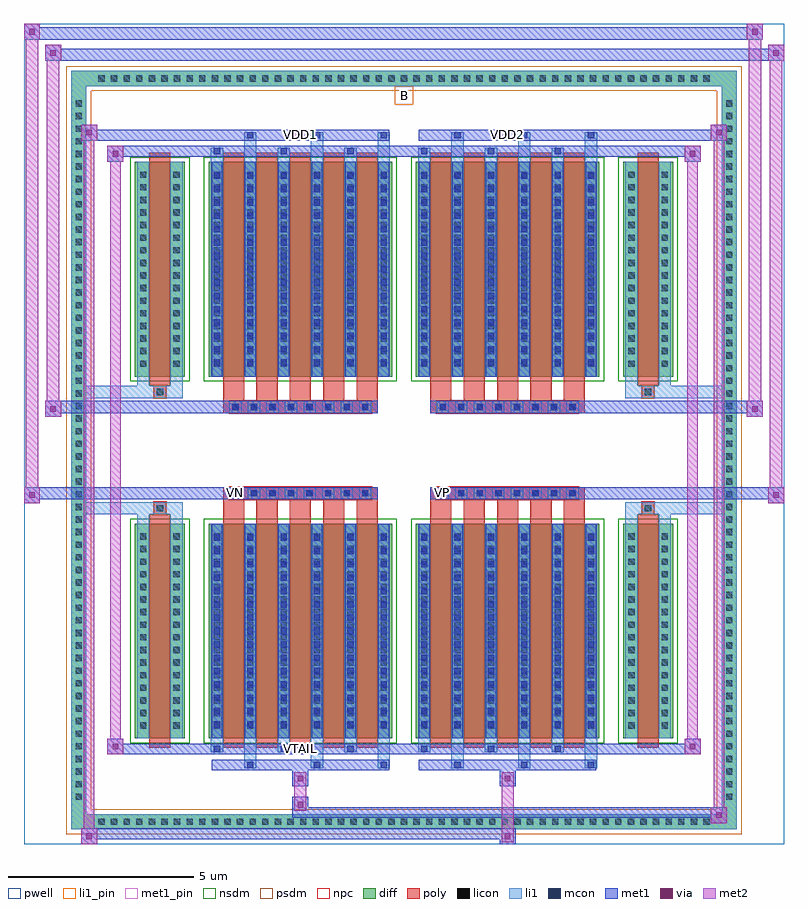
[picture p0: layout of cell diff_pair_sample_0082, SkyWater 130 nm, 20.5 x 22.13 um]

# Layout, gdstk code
import gdstk
lib = gdstk.Library(unit=1e-6, precision=5e-09)
def R(c, l, rs):  # rectangles x0, y0, x1, y1
    for r in rs: c.add(gdstk.rectangle(r[:2], r[2:], *l))
def A(c, l, x, y, w, h, nx, ny, dx, dy):  # array of equal rectangles
    R(c, l, [(x+i*dx, y+j*dy, x+i*dx+w, y+j*dy+h) for i in range(nx) for j in range(ny)])
def P(c, l, *ps):  # polygons
    for p in ps: c.add(gdstk.Polygon(p, *l))
pwell = (64, 44)
diff = (65, 20)
poly = (66, 20)
licon = (66, 44)
li1_pin = (67, 16)
li1 = (67, 20)
mcon = (67, 44)
met1_pin = (68, 16)
met1 = (68, 20)
via = (68, 44)
met2 = (69, 20)
nsdm = (93, 44)
psdm = (94, 20)
npc = (95, 20)

diff_pair_sample_0082 = lib.new_cell('diff_pair_sample_0082')
R(diff_pair_sample_0082, pwell, [(-10.25,-10.63,10.25,11.5), (-7.57,-8.82,-0.01,-0.8), (0.01,-8.82,7.57,-0.8), (-7.57,0.8,-0.01,8.82), (0.01,0.8,7.57,8.82)])
A(diff_pair_sample_0082, diff, -8.365, -10.23, 0.41, 0.41, 49, 2, 0.34, 20.05)
A(diff_pair_sample_0082, diff, -8.98, -9.555, 0.41, 0.41, 1, 56, 0, 0.34)
A(diff_pair_sample_0082, diff, 8.57, -9.555, 0.41, 0.41, 1, 56, 0, 0.34)
R(diff_pair_sample_0082, diff, [(-8.365,-10.23,8.365,-9.82), (-8.98,-9.555,-8.57,9.555), (8.57,-9.555,8.98,9.555), (-7.26,-7.775,-5.91,-1.985), (-5.27,-7.775,-0.32,-1.985), (0.32,-7.775,5.27,-1.985), (5.91,-7.775,7.26,-1.985), (-7.26,1.985,-5.91,7.775), (-5.27,1.985,-0.32,7.775), (0.32,1.985,5.27,7.775), (5.91,1.985,7.26,7.775), (-8.365,9.82,8.365,10.23)])
P(diff_pair_sample_0082, diff, [(8.98,10.23),(-8.98,10.23),(-8.98,-9.82),(-8.57,-9.82),(-8.57,9.82),(8.57,9.82),(8.57,-9.82),(-8.57,-9.82),(-8.98,-9.82),(-8.98,-10.23),(8.98,-10.23)])
A(diff_pair_sample_0082, poly, -4.88, -8.025, 0.57, 6.29, 5, 2, 0.9, 9.76)
A(diff_pair_sample_0082, poly, 0.71, -8.025, 0.57, 6.29, 5, 2, 0.9, 9.76)
A(diff_pair_sample_0082, poly, -4.88, -1.735, 0.57, 0.405, 5, 2, 0.9, 3.065)
A(diff_pair_sample_0082, poly, 0.71, -1.735, 0.57, 0.405, 5, 2, 0.9, 3.065)
A(diff_pair_sample_0082, poly, -4.71, -1.33, 0.33, 0.33, 8, 2, 0.5, 2.33)
A(diff_pair_sample_0082, poly, 0.88, -1.33, 0.33, 0.33, 8, 2, 0.5, 2.33)
R(diff_pair_sample_0082, poly, [(-6.87,-8.025,-6.3,-1.735), (6.3,-8.025,6.87,-1.735), (-6.75,-1.735,-6.42,-1.405), (-6.75,-1.735,-6.42,-1.405), (6.42,-1.735,6.75,-1.405), (6.42,-1.735,6.75,-1.405), (-4.88,-1.33,-0.71,-1), (0.71,-1.33,4.88,-1), (-4.88,1,-0.71,1.33), (0.71,1,4.88,1.33), (-6.75,1.405,-6.42,1.735), (-6.75,1.405,-6.42,1.735), (6.42,1.405,6.75,1.735), (6.42,1.405,6.75,1.735), (-6.87,1.735,-6.3,8.025), (6.3,1.735,6.87,8.025)])
A(diff_pair_sample_0082, licon, -8.245, -10.11, 0.17, 0.17, 49, 2, 0.34, 20.05)
A(diff_pair_sample_0082, licon, -8.86, -9.435, 0.17, 0.17, 1, 56, 0, 0.34)
A(diff_pair_sample_0082, licon, 8.69, -9.435, 0.17, 0.17, 1, 56, 0, 0.34)
A(diff_pair_sample_0082, licon, -7.12, -7.515, 0.17, 0.17, 1, 16, 0, 0.34)
A(diff_pair_sample_0082, licon, -6.22, -7.515, 0.17, 0.17, 1, 16, 0, 0.34)
A(diff_pair_sample_0082, licon, -5.13, -7.515, 0.17, 0.17, 6, 16, 0.9, 0.34)
A(diff_pair_sample_0082, licon, 0.46, -7.515, 0.17, 0.17, 6, 16, 0.9, 0.34)
A(diff_pair_sample_0082, licon, 6.05, -7.515, 0.17, 0.17, 1, 16, 0, 0.34)
A(diff_pair_sample_0082, licon, 6.95, -7.515, 0.17, 0.17, 1, 16, 0, 0.34)
A(diff_pair_sample_0082, licon, -4.63, -1.25, 0.17, 0.17, 8, 2, 0.5, 2.33)
A(diff_pair_sample_0082, licon, 0.96, -1.25, 0.17, 0.17, 8, 2, 0.5, 2.33)
A(diff_pair_sample_0082, licon, -7.12, 2.245, 0.17, 0.17, 1, 16, 0, 0.34)
A(diff_pair_sample_0082, licon, -6.22, 2.245, 0.17, 0.17, 1, 16, 0, 0.34)
A(diff_pair_sample_0082, licon, -5.13, 2.245, 0.17, 0.17, 6, 16, 0.9, 0.34)
A(diff_pair_sample_0082, licon, 0.46, 2.245, 0.17, 0.17, 6, 16, 0.9, 0.34)
A(diff_pair_sample_0082, licon, 6.05, 2.245, 0.17, 0.17, 1, 16, 0, 0.34)
A(diff_pair_sample_0082, licon, 6.95, 2.245, 0.17, 0.17, 1, 16, 0, 0.34)
R(diff_pair_sample_0082, licon, [(-6.67,-1.655,-6.5,-1.485), (6.5,-1.655,6.67,-1.485), (-6.67,1.485,-6.5,1.655), (6.5,1.485,6.67,1.655)])
R(diff_pair_sample_0082, li1_pin, [(-0.25,9.32,0.25,9.82)])
A(diff_pair_sample_0082, li1, -8.325, -10.19, 0.33, 0.33, 49, 2, 0.34, 20.05)
A(diff_pair_sample_0082, li1, -8.94, -9.515, 0.33, 0.33, 1, 56, 0, 0.34)
A(diff_pair_sample_0082, li1, 8.61, -9.515, 0.33, 0.33, 1, 56, 0, 0.34)
A(diff_pair_sample_0082, li1, -4.31, -8.58, 0.33, 0.805, 3, 2, 1.8, 16.355)
A(diff_pair_sample_0082, li1, -4.23, -8.58, 0.17, 0.17, 3, 2, 1.8, 16.99)
A(diff_pair_sample_0082, li1, 1.28, -8.58, 0.33, 0.805, 3, 2, 1.8, 16.355)
A(diff_pair_sample_0082, li1, 1.36, -8.58, 0.17, 0.17, 3, 2, 1.8, 16.99)
A(diff_pair_sample_0082, li1, -5.21, -8.15, 0.33, 0.375, 3, 2, 1.8, 15.925)
A(diff_pair_sample_0082, li1, -5.13, -8.15, 0.17, 0.17, 3, 2, 1.8, 16.13)
A(diff_pair_sample_0082, li1, 0.38, -8.15, 0.33, 0.375, 3, 2, 1.8, 15.925)
A(diff_pair_sample_0082, li1, 0.46, -8.15, 0.17, 0.17, 3, 2, 1.8, 16.13)
A(diff_pair_sample_0082, li1, -5.21, -7.775, 0.33, 5.79, 6, 2, 0.9, 9.76)
A(diff_pair_sample_0082, li1, 0.38, -7.775, 0.33, 5.79, 6, 2, 0.9, 9.76)
A(diff_pair_sample_0082, li1, -7.2, -7.595, 0.33, 0.33, 1, 16, 0, 0.34)
A(diff_pair_sample_0082, li1, -6.3, -7.595, 0.33, 0.33, 1, 16, 0, 0.34)
A(diff_pair_sample_0082, li1, -5.21, -7.595, 0.33, 0.33, 6, 16, 0.9, 0.34)
A(diff_pair_sample_0082, li1, 0.38, -7.595, 0.33, 0.33, 6, 16, 0.9, 0.34)
A(diff_pair_sample_0082, li1, 5.97, -7.595, 0.33, 0.33, 1, 16, 0, 0.34)
A(diff_pair_sample_0082, li1, 6.87, -7.595, 0.33, 0.33, 1, 16, 0, 0.34)
A(diff_pair_sample_0082, li1, -5.13, -7.485, 0.17, 0.17, 6, 15, 0.9, 0.36)
A(diff_pair_sample_0082, li1, -5.13, -7.485, 0.17, 5.21, 6, 2, 0.9, 9.76)
A(diff_pair_sample_0082, li1, 0.46, -7.485, 0.17, 0.17, 6, 15, 0.9, 0.36)
A(diff_pair_sample_0082, li1, 0.46, -7.485, 0.17, 5.21, 6, 2, 0.9, 9.76)
A(diff_pair_sample_0082, li1, -4.71, -1.33, 0.33, 0.33, 8, 2, 0.5, 2.33)
A(diff_pair_sample_0082, li1, 0.88, -1.33, 0.33, 0.33, 8, 2, 0.5, 2.33)
A(diff_pair_sample_0082, li1, -7.2, 2.165, 0.33, 0.33, 1, 16, 0, 0.34)
A(diff_pair_sample_0082, li1, -6.3, 2.165, 0.33, 0.33, 1, 16, 0, 0.34)
A(diff_pair_sample_0082, li1, -5.21, 2.165, 0.33, 0.33, 6, 16, 0.9, 0.34)
A(diff_pair_sample_0082, li1, 0.38, 2.165, 0.33, 0.33, 6, 16, 0.9, 0.34)
A(diff_pair_sample_0082, li1, 5.97, 2.165, 0.33, 0.33, 1, 16, 0, 0.34)
A(diff_pair_sample_0082, li1, 6.87, 2.165, 0.33, 0.33, 1, 16, 0, 0.34)
A(diff_pair_sample_0082, li1, -5.13, 2.275, 0.17, 0.17, 6, 15, 0.9, 0.36)
A(diff_pair_sample_0082, li1, 0.46, 2.275, 0.17, 0.17, 6, 15, 0.9, 0.36)
R(diff_pair_sample_0082, li1, [(-8.98,-10.23,-8.57,-9.82), (-8.98,-10.23,-8.57,-9.82), (-8.57,-10.23,8.57,-9.82), (8.57,-10.23,8.98,-9.82), (8.57,-10.23,8.98,-9.82), (-8.98,-9.82,-8.57,9.82), (8.57,-9.82,8.98,9.82), (-7.2,-7.775,-6.87,-1.985), (-6.3,-7.775,-5.97,-1.985), (5.97,-7.775,6.3,-1.985), (6.87,-7.775,7.2,-1.985), (-7.2,-1.985,-6.87,-1.405), (-6.3,-1.985,-5.97,-1.405), (5.97,-1.985,6.3,-1.405), (6.87,-1.985,7.2,-1.405), (-8.98,-1.735,-6.75,-1.405), (-7.2,-1.735,-6.75,-1.405), (-6.75,-1.735,-6.42,-1.405), (-6.42,-1.735,-5.97,-1.405), (5.97,-1.735,6.42,-1.405), (6.42,-1.735,6.75,-1.405), (6.42,-1.735,8.98,-1.405), (6.75,-1.735,7.2,-1.405), (-8.98,1.405,-6.75,1.735), (-7.2,1.405,-6.75,1.735), (-7.2,1.405,-6.87,1.985), (-6.75,1.405,-6.42,1.735), (-6.42,1.405,-5.97,1.735), (-6.3,1.405,-5.97,1.985), (5.97,1.405,6.42,1.735), (5.97,1.405,6.3,1.985), (6.42,1.405,6.75,1.735), (6.42,1.405,8.98,1.735), (6.75,1.405,7.2,1.735), (6.87,1.405,7.2,1.985), (-7.2,1.985,-6.87,7.775), (-6.3,1.985,-5.97,7.775), (5.97,1.985,6.3,7.775), (6.87,1.985,7.2,7.775), (-8.98,9.82,-8.57,10.23), (-8.98,9.82,-8.57,10.23), (-8.57,9.82,8.57,10.23), (8.57,9.82,8.98,10.23), (8.57,9.82,8.98,10.23)])
A(diff_pair_sample_0082, mcon, -4.23, -8.58, 0.17, 0.17, 3, 2, 1.8, 16.99)
A(diff_pair_sample_0082, mcon, 1.36, -8.58, 0.17, 0.17, 3, 2, 1.8, 16.99)
A(diff_pair_sample_0082, mcon, -5.13, -8.15, 0.17, 0.17, 3, 2, 1.8, 16.13)
A(diff_pair_sample_0082, mcon, 0.46, -8.15, 0.17, 0.17, 3, 2, 1.8, 16.13)
A(diff_pair_sample_0082, mcon, -5.13, -7.485, 0.17, 0.17, 6, 15, 0.9, 0.36)
A(diff_pair_sample_0082, mcon, 0.46, -7.485, 0.17, 0.17, 6, 15, 0.9, 0.36)
A(diff_pair_sample_0082, mcon, -4.63, -1.25, 0.17, 0.17, 8, 2, 0.5, 2.33)
A(diff_pair_sample_0082, mcon, 0.96, -1.25, 0.17, 0.17, 8, 2, 0.5, 2.33)
A(diff_pair_sample_0082, mcon, -5.13, 2.275, 0.17, 0.17, 6, 15, 0.9, 0.36)
A(diff_pair_sample_0082, mcon, 0.46, 2.275, 0.17, 0.17, 6, 15, 0.9, 0.36)
R(diff_pair_sample_0082, met1_pin, [(-2.93,-8.19,-2.66,-7.92), (-4.68,-1.29,-4.41,-1.02), (0.91,-1.29,1.18,-1.02), (-2.93,8.37,-2.66,8.64), (2.66,8.37,2.93,8.64)])
A(diff_pair_sample_0082, met1, -4.29, -8.64, 0.29, 0.29, 3, 2, 1.8, 16.99)
A(diff_pair_sample_0082, met1, 1.3, -8.64, 0.29, 0.29, 3, 2, 1.8, 16.99)
A(diff_pair_sample_0082, met1, -5.19, -8.21, 0.29, 0.29, 3, 2, 1.8, 16.13)
A(diff_pair_sample_0082, met1, 0.4, -8.21, 0.29, 0.29, 3, 2, 1.8, 16.13)
A(diff_pair_sample_0082, met1, -5.19, -7.775, 0.29, 5.79, 6, 2, 0.9, 9.76)
A(diff_pair_sample_0082, met1, 0.4, -7.775, 0.29, 5.79, 6, 2, 0.9, 9.76)
A(diff_pair_sample_0082, met1, -5.19, -7.545, 0.29, 0.29, 6, 15, 0.9, 0.36)
A(diff_pair_sample_0082, met1, 0.4, -7.545, 0.29, 0.29, 6, 15, 0.9, 0.36)
A(diff_pair_sample_0082, met1, -4.69, -1.31, 0.29, 0.29, 8, 2, 0.5, 2.33)
A(diff_pair_sample_0082, met1, 0.9, -1.31, 0.29, 0.29, 8, 2, 0.5, 2.33)
A(diff_pair_sample_0082, met1, -5.19, 2.215, 0.29, 0.29, 6, 15, 0.9, 0.36)
A(diff_pair_sample_0082, met1, 0.4, 2.215, 0.29, 0.29, 6, 15, 0.9, 0.36)
R(diff_pair_sample_0082, met1, [(-8.71,-10.63,-8.28,-10.2), (2.58,-10.63,3.01,-10.2), (-8.71,-10.49,3.01,-10.2), (8.28,-10.06,8.71,-9.63), (-3.01,-9.92,8.71,-9.63), (-3.01,-9.78,-2.58,-9.35), (-3.01,-9.07,-2.58,-8.64), (2.58,-9.07,3.01,-8.64), (-5.19,-8.64,-0.4,-8.35), (0.4,-8.64,5.19,-8.35), (-8,-8.21,-7.57,-7.78), (-8,-8.21,-5.19,-7.92), (-5.19,-8.21,-0.4,-7.92), (-0.4,-8.21,0.4,-7.92), (0.4,-8.21,5.19,-7.92), (5.19,-8.21,8,-7.92), (7.57,-8.21,8,-7.78), (-10.25,-1.43,-9.82,-1), (9.82,-1.43,10.25,-1), (-10.25,-1.33,-0.71,-1), (-4.88,-1.33,-0.71,-1), (0.71,-1.33,4.88,-1), (0.71,-1.33,10.25,-1), (-9.68,0.9,-9.25,1.33), (9.25,0.9,9.68,1.33), (-9.68,1,-4.88,1.33), (-4.88,1,-0.71,1.33), (0.71,1,4.88,1.33), (4.88,1,9.68,1.33), (-8,7.78,-7.57,8.21), (7.57,7.78,8,8.21), (-8,7.92,-5.19,8.21), (-5.19,7.92,-0.4,8.21), (-0.4,7.92,0.4,8.21), (0.4,7.92,5.19,8.21), (5.19,7.92,8,8.21), (-8.71,8.35,-8.28,8.78), (-8.71,8.35,-5.19,8.64), (-5.19,8.35,-0.4,8.64), (0.4,8.35,5.19,8.64), (5.19,8.35,8.71,8.64), (8.28,8.35,8.71,8.78), (-9.68,10.5,-9.25,10.93), (-9.68,10.5,-7.57,10.83), (-7.57,10.5,7.57,10.83), (7.57,10.5,10.25,10.83), (9.82,10.5,10.25,10.93), (-10.25,11.07,-9.82,11.5), (-10.25,11.07,-7.57,11.4), (-7.57,11.07,7.57,11.4), (7.57,11.07,9.68,11.4), (9.25,11.07,9.68,11.5)])
R(diff_pair_sample_0082, via, [(-8.57,-10.49,-8.42,-10.34), (2.72,-10.49,2.87,-10.34), (8.42,-9.92,8.57,-9.77), (-2.87,-9.64,-2.72,-9.49), (-2.87,-8.93,-2.72,-8.78), (2.72,-8.93,2.87,-8.78), (-7.86,-8.07,-7.71,-7.92), (7.71,-8.07,7.86,-7.92), (-10.11,-1.29,-9.96,-1.14), (9.96,-1.29,10.11,-1.14), (-9.54,1.04,-9.39,1.19), (9.39,1.04,9.54,1.19), (-7.86,7.92,-7.71,8.07), (7.71,7.92,7.86,8.07), (-8.57,8.49,-8.42,8.64), (8.42,8.49,8.57,8.64), (-9.54,10.64,-9.39,10.79), (9.96,10.64,10.11,10.79), (-10.11,11.21,-9.96,11.36), (9.39,11.21,9.54,11.36)])
R(diff_pair_sample_0082, met2, [(-8.71,-10.63,-8.28,-10.2), (-8.64,-10.63,-8.35,8.78), (-8.35,-10.63,-8.28,-10.2), (-8.66,-10.58,-8.33,-10.25), (2.63,-10.58,2.96,-10.25), (2.63,-10.25,2.96,-9.02), (8.28,-10.06,8.71,-9.63), (8.35,-10.06,8.64,8.78), (8.64,-10.06,8.71,-9.63), (8.33,-10.01,8.66,-9.68), (-2.96,-9.73,-2.63,-9.4), (-2.96,-9.4,-2.63,-9.02), (-2.96,-9.02,-2.63,-8.69), (2.63,-9.02,2.96,-8.69), (-8,-8.21,-7.57,-7.78), (-7.93,-8.21,-7.64,8.21), (-7.64,-8.21,-7.57,-7.78), (7.57,-8.21,8,-7.78), (7.64,-8.21,7.93,8.21), (7.93,-8.21,8,-7.78), (-7.95,-8.16,-7.62,-7.83), (7.62,-8.16,7.95,-7.83), (-10.25,-1.43,-9.82,-1), (-10.2,-1.43,-9.87,11.5), (-9.87,-1.43,-9.82,-1), (9.82,-1.43,10.25,-1), (9.87,-1.43,10.2,10.93), (10.2,-1.43,10.25,-1), (-10.2,-1.38,-9.87,-1.05), (9.87,-1.38,10.2,-1.05), (-9.68,0.9,-9.25,1.33), (-9.63,0.9,-9.3,10.93), (-9.3,0.9,-9.25,1.33), (9.25,0.9,9.68,1.33), (9.3,0.9,9.63,11.5), (9.63,0.9,9.68,1.33), (-9.63,0.95,-9.3,1.28), (9.3,0.95,9.63,1.28), (-8,7.78,-7.57,8.21), (-7.64,7.78,-7.57,8.21), (7.57,7.78,8,8.21), (7.93,7.78,8,8.21), (-7.95,7.83,-7.62,8.16), (7.62,7.83,7.95,8.16), (-8.71,8.35,-8.28,8.78), (-8.35,8.35,-8.28,8.78), (8.28,8.35,8.71,8.78), (8.64,8.35,8.71,8.78), (-8.66,8.4,-8.33,8.73), (8.33,8.4,8.66,8.73), (-9.68,10.5,-9.25,10.93), (-9.3,10.5,-9.25,10.93), (9.82,10.5,10.25,10.93), (10.2,10.5,10.25,10.93), (-9.63,10.55,-9.3,10.88), (9.87,10.55,10.2,10.88), (-10.25,11.07,-9.82,11.5), (-9.87,11.07,-9.82,11.5), (9.25,11.07,9.68,11.5), (9.63,11.07,9.68,11.5), (-10.2,11.12,-9.87,11.45), (9.3,11.12,9.63,11.45)])
R(diff_pair_sample_0082, nsdm, [(-7.39,-7.905,-5.78,-1.855), (-5.4,-7.905,-0.19,-1.855), (0.19,-7.905,5.4,-1.855), (5.78,-7.905,7.39,-1.855), (-7.39,1.855,-5.78,7.905), (-5.4,1.855,-0.19,7.905), (0.19,1.855,5.4,7.905), (5.78,1.855,7.39,7.905)])
P(diff_pair_sample_0082, psdm, [(9.11,10.36),(-9.11,10.36),(-9.11,-9.69),(-8.44,-9.69),(-8.44,9.69),(8.44,9.69),(8.44,-9.69),(-8.44,-9.69),(-9.11,-9.69),(-9.11,-10.36),(9.11,-10.36)])
A(diff_pair_sample_0082, npc, -4.73, -1.35, 0.37, 0.37, 8, 2, 0.5, 2.33)
A(diff_pair_sample_0082, npc, 0.86, -1.35, 0.37, 0.37, 8, 2, 0.5, 2.33)
R(diff_pair_sample_0082, npc, [(-6.77,-1.755,-6.4,-1.385), (6.4,-1.755,6.77,-1.385), (-4.73,-1.35,-3.86,-0.98), (-4.73,-1.35,-3.86,-0.98), (-4.23,-1.35,-3.36,-0.98), (-4.23,-1.35,-3.36,-0.98), (-3.73,-1.35,-2.86,-0.98), (-3.73,-1.35,-2.86,-0.98), (-3.23,-1.35,-2.36,-0.98), (-3.23,-1.35,-2.36,-0.98), (-2.73,-1.35,-1.86,-0.98), (-2.73,-1.35,-1.86,-0.98), (-2.23,-1.35,-1.36,-0.98), (-2.23,-1.35,-1.36,-0.98), (-1.73,-1.35,-0.86,-0.98), (-1.73,-1.35,-0.86,-0.98), (0.86,-1.35,1.73,-0.98), (0.86,-1.35,1.73,-0.98), (1.36,-1.35,2.23,-0.98), (1.36,-1.35,2.23,-0.98), (1.86,-1.35,2.73,-0.98), (1.86,-1.35,2.73,-0.98), (2.36,-1.35,3.23,-0.98), (2.36,-1.35,3.23,-0.98), (2.86,-1.35,3.73,-0.98), (2.86,-1.35,3.73,-0.98), (3.36,-1.35,4.23,-0.98), (3.36,-1.35,4.23,-0.98), (3.86,-1.35,4.73,-0.98), (3.86,-1.35,4.73,-0.98), (-4.73,0.98,-3.86,1.35), (-4.73,0.98,-3.86,1.35), (-4.23,0.98,-3.36,1.35), (-4.23,0.98,-3.36,1.35), (-3.73,0.98,-2.86,1.35), (-3.73,0.98,-2.86,1.35), (-3.23,0.98,-2.36,1.35), (-3.23,0.98,-2.36,1.35), (-2.73,0.98,-1.86,1.35), (-2.73,0.98,-1.86,1.35), (-2.23,0.98,-1.36,1.35), (-2.23,0.98,-1.36,1.35), (-1.73,0.98,-0.86,1.35), (-1.73,0.98,-0.86,1.35), (0.86,0.98,1.73,1.35), (0.86,0.98,1.73,1.35), (1.36,0.98,2.23,1.35), (1.36,0.98,2.23,1.35), (1.86,0.98,2.73,1.35), (1.86,0.98,2.73,1.35), (2.36,0.98,3.23,1.35), (2.36,0.98,3.23,1.35), (2.86,0.98,3.73,1.35), (2.86,0.98,3.73,1.35), (3.36,0.98,4.23,1.35), (3.36,0.98,4.23,1.35), (3.86,0.98,4.73,1.35), (3.86,0.98,4.73,1.35), (-6.77,1.385,-6.4,1.755), (6.4,1.385,6.77,1.755)])
diff_pair_sample_0082.add(gdstk.Label('VTAIL', (-2.795,-8.055), layer=68, texttype=5))
diff_pair_sample_0082.add(gdstk.Label('VN', (-4.545,-1.155), layer=68, texttype=5))
diff_pair_sample_0082.add(gdstk.Label('VP', (1.045,-1.155), layer=68, texttype=5))
diff_pair_sample_0082.add(gdstk.Label('B', (0,9.57), layer=67, texttype=5))
diff_pair_sample_0082.add(gdstk.Label('VDD2', (2.795,8.505), layer=68, texttype=5))
diff_pair_sample_0082.add(gdstk.Label('VDD1', (-2.795,8.505), layer=68, texttype=5))

lib.write_gds('diff_pair_sample_0082.gds')
